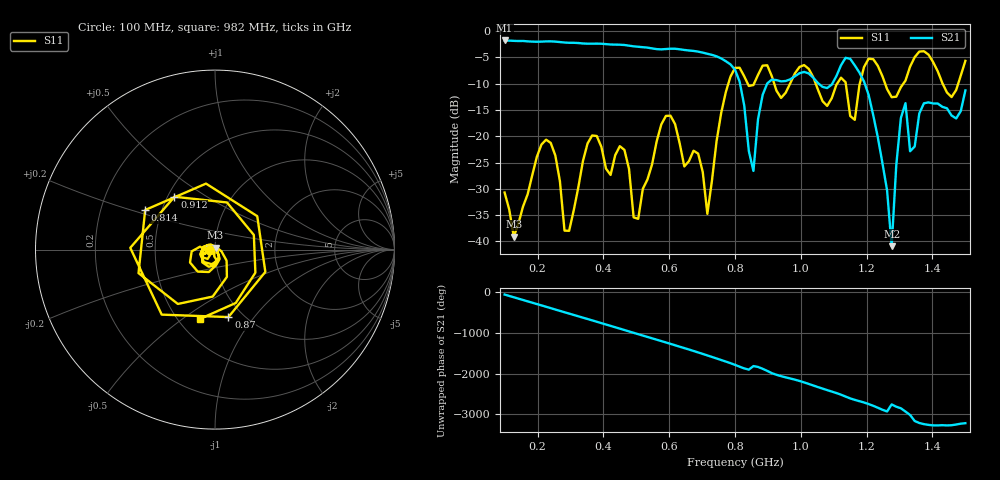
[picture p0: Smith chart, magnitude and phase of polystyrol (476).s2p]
! NanoVNA-App
! Date: 2025-09-25 15:33:35
! Start: 100MHz Stop: 1,5GHz Points: 101
! S-Parameter data: F S11 S21 S12 S22
# Hz S RI R 50
!  Frequency  S11_Real  S11_Imag  S21_Real  S21_Imag  S12_Real  S12_Imag  S22_Real  S22_Imag
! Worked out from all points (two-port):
!   101 points, 100 MHz to 1.5 GHz, reference 50 ohm
!   highest |S21| = -1.80 dB at 100 MHz (marker M1); lowest = -40.9 dB at 1.276 GHz (marker M2)
!   |S21| within 3 dB of the highest: start of sweep to 743.2 MHz
!   lowest |S11| = -39.1 dB at 128 MHz (marker M3), VSWR 1.02, Z = 50.3 + j1.06 ohm
!   |S11| at or under -10 dB: start of sweep to 779.8 MHz; 1.045 GHz to 1.11 GHz (65.26 MHz wide, 6.05 % of centre); 1.256 GHz to 1.312 GHz (55.5 MHz wide, 4.32 % of centre) (the widest 3 of 7)
!   S12 and S22 are empty: the file has one direction only
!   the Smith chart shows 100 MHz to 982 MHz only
!   S11 on the Smith chart (normalised r, x): 100 MHz: 0.94, -0.01; 814 MHz: 0.40, +0.22; 870 MHz: 0.86, -0.75; 912 MHz: 0.54, +0.37; 982 MHz: 0.64, -0.58
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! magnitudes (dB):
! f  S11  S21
! 100 MHz  -30.7  -1.8
! 128 MHz  -39.1  -1.9
! 212 MHz  -21.6  -2.0
! 282 MHz  -37.9  -2.2
! 338 MHz  -24.7  -2.4
! 464 MHz  -22.6  -2.7
! 506 MHz  -35.7  -3.0
! 576 MHz  -17.8  -3.5
! 716 MHz  -34.8  -4.3
! 800 MHz  -7.0  -7.3
! 814 MHz  -7.0  -9.6
! 856 MHz  -10.3  -26.6
! 870 MHz  -8.3  -16.7
! 912 MHz  -8.6  -9.2
! 982 MHz  -8.1  -8.6
! 1.038 GHz  -8.8  -8.9
! 1.164 GHz  -16.9  -6.5
! 1.192 GHz  -6.8  -9.6
! 1.276 GHz  -12.6  -40.9
! 1.318 GHz  -9.4  -13.7
! 1.332 GHz  -6.8  -22.9
! 1.5 GHz  -5.7  -11.3
